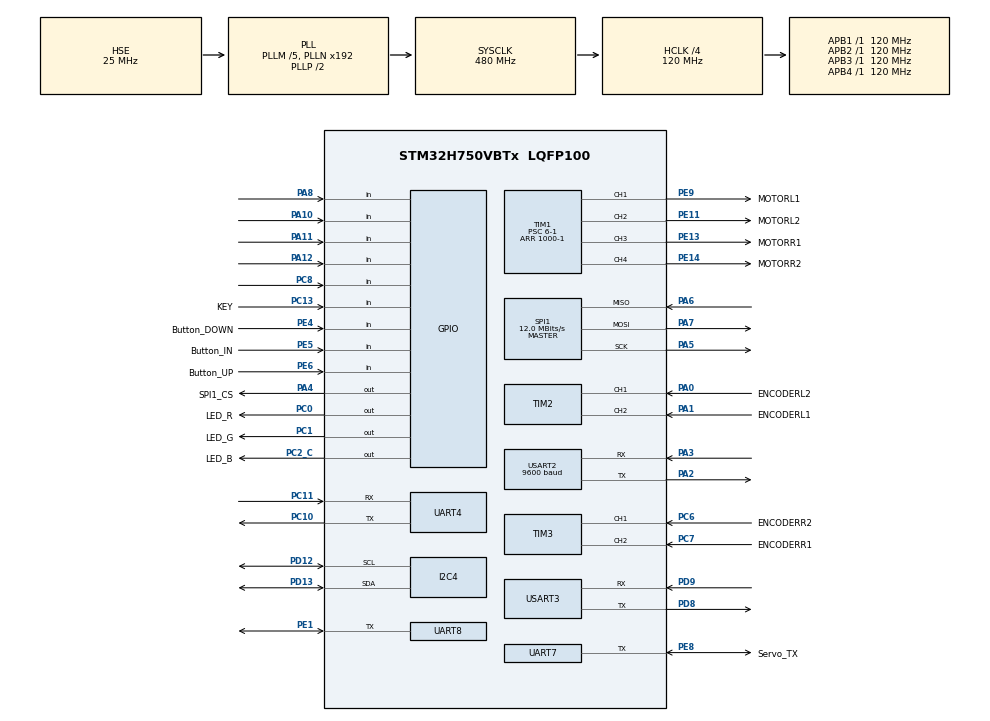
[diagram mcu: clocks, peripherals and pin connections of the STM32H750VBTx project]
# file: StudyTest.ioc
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CORTEX_M7.AccessPermission_Spec=MPU_REGION_FULL_ACCESS
CORTEX_M7.BaseAddress_Spec=0x24000000
CORTEX_M7.CPU_DCache=Enabled
CORTEX_M7.CPU_ICache=Enabled
CORTEX_M7.DisableExec_Spec=MPU_INSTRUCTION_ACCESS_ENABLE
CORTEX_M7.IsCacheable_Spec=MPU_ACCESS_CACHEABLE
CORTEX_M7.IsShareable_Spec=MPU_ACCESS_NOT_SHAREABLE
CORTEX_M7.Size_Spec=MPU_REGION_SIZE_512KB
CORTEX_M7.SubRegionDisable_Spec=0x0
CORTEX_M7.TypeExtField_Spec=MPU_TEX_LEVEL0
CORTEX_M7.default_mode_Activation=1
Dma.Request0=UART4_RX
Dma.UART4_RX.0.Direction=DMA_PERIPH_TO_MEMORY
Dma.UART4_RX.0.FIFOMode=DMA_FIFOMODE_DISABLE
Dma.UART4_RX.0.Instance=DMA1_Stream0
Dma.UART4_RX.0.MemDataAlignment=DMA_MDATAALIGN_BYTE
Dma.UART4_RX.0.MemInc=DMA_MINC_ENABLE
Dma.UART4_RX.0.Mode=DMA_CIRCULAR
Dma.UART4_RX.0.PeriphDataAlignment=DMA_PDATAALIGN_BYTE
Dma.UART4_RX.0.PeriphInc=DMA_PINC_DISABLE
Dma.UART4_RX.0.Priority=DMA_PRIORITY_HIGH
I2C4.Timing=0x307075B1
Mcu.Family=STM32H7
Mcu.Name=STM32H750VBTx
Mcu.Package=LQFP100
NVIC.PriorityGroup=NVIC_PRIORITYGROUP_4
NVIC.TIM7_IRQn=true\:0\:0\:false\:false\:true\:true\:true\:true
NVIC.UART4_IRQn=true\:0\:0\:false\:false\:true\:true\:true\:true
NVIC.UART8_IRQn=true\:0\:0\:false\:false\:true\:true\:true\:true
NVIC.USART2_IRQn=true\:0\:0\:false\:false\:true\:true\:true\:true
PA0.GPIO_Label=ENCODERL2
PA0.Signal=S_TIM2_CH1_ETR
PA1.GPIO_Label=ENCODERL1
PA1.Signal=S_TIM2_CH2
PA10.Signal=GPIO_Input
PA11.Signal=GPIO_Input
PA12.Signal=GPIO_Input
PA13\ (JTMS/SWDIO).Mode=Serial_Wire
PA13\ (JTMS/SWDIO).Signal=DEBUG_JTMS-SWDIO
PA14\ (JTCK/SWCLK).Mode=Serial_Wire
PA14\ (JTCK/SWCLK).Signal=DEBUG_JTCK-SWCLK
PA2.Mode=Asynchronous
PA2.Signal=USART2_TX
PA3.Mode=Asynchronous
PA3.Signal=USART2_RX
PA4.GPIO_Label=SPI1_CS
PA4.PinState=GPIO_PIN_SET
PA4.Signal=GPIO_Output
PA5.GPIO_Speed=GPIO_SPEED_FREQ_VERY_HIGH
PA5.Mode=Full_Duplex_Master
PA5.Signal=SPI1_SCK
PA6.GPIO_Speed=GPIO_SPEED_FREQ_VERY_HIGH
PA6.Mode=Full_Duplex_Master
PA6.Signal=SPI1_MISO
PA7.GPIO_Speed=GPIO_SPEED_FREQ_VERY_HIGH
PA7.Mode=Full_Duplex_Master
PA7.Signal=SPI1_MOSI
PA8.Signal=GPIO_Input
PC0.GPIO_Label=LED_R
PC0.PinState=GPIO_PIN_SET
PC0.Signal=GPIO_Output
PC1.GPIO_Label=LED_G
PC1.PinState=GPIO_PIN_SET
PC1.Signal=GPIO_Output
PC10.Mode=Asynchronous
PC10.Signal=UART4_TX
PC11.Mode=Asynchronous
PC11.Signal=UART4_RX
PC13.GPIO_Label=KEY
PC13.GPIO_PuPd=GPIO_PULLUP
PC13.Signal=GPIO_Input
PC2_C.GPIO_Label=LED_B
PC2_C.PinState=GPIO_PIN_SET
PC2_C.Signal=GPIO_Output
PC6.GPIO_Label=ENCODERR2
PC6.Signal=S_TIM3_CH1
PC7.GPIO_Label=ENCODERR1
PC7.Signal=S_TIM3_CH2
PC8.Signal=GPIO_Input
PD12.Mode=I2C
PD12.Signal=I2C4_SCL
PD13.Mode=I2C
PD13.Signal=I2C4_SDA
PD8.Mode=Asynchronous
PD8.Signal=USART3_TX
PD9.Mode=Asynchronous
PD9.Signal=USART3_RX
PE1.GPIO_PuPd=GPIO_PULLUP
PE1.Mode=Half_duplex(single_wire_mode)
PE1.Signal=UART8_TX
PE11.GPIO_Label=MOTORL2
PE11.Signal=S_TIM1_CH2
PE13.GPIO_Label=MOTORR1
PE13.Signal=S_TIM1_CH3
PE14.GPIO_Label=MOTORR2
PE14.Signal=S_TIM1_CH4
PE4.GPIO_Label=Button_DOWN
PE4.GPIO_PuPd=GPIO_PULLUP
PE4.Signal=GPIO_Input
PE5.GPIO_Label=Button_IN
PE5.GPIO_PuPd=GPIO_PULLUP
PE5.Signal=GPIO_Input
PE6.GPIO_Label=Button_UP
PE6.GPIO_PuPd=GPIO_PULLUP
PE6.Signal=GPIO_Input
PE8.GPIO_Label=Servo_TX
PE8.Mode=Half_duplex(single_wire_mode)
PE8.Signal=UART7_TX
PE9.GPIO_Label=MOTORL1
PE9.Signal=S_TIM1_CH1
PH0-OSC_IN\ (PH0).Mode=HSE-External-Oscillator
PH0-OSC_IN\ (PH0).Signal=RCC_OSC_IN
PH1-OSC_OUT\ (PH1).Mode=HSE-External-Oscillator
PH1-OSC_OUT\ (PH1).Signal=RCC_OSC_OUT
ProjectManager.HeapSize=0x200
ProjectManager.StackSize=0x400
ProjectManager.TargetToolchain=CMake
RCC.ADCFreq_Value=75000000
RCC.APB1Freq_Value=120000000
RCC.APB2Freq_Value=120000000
RCC.APB3Freq_Value=120000000
RCC.APB4Freq_Value=120000000
RCC.CortexFreq_Value=480000000
RCC.DIVM1=5
RCC.DIVM2=2
RCC.DIVN1=192
RCC.DIVN2=12
RCC.DIVQ1=5
RCC.HCLKFreq_Value=120000000
RCC.HPRE=RCC_HCLK_DIV4
RCC.PLL2FRACN=0
RCC.PLL2_VCI_Range-AdvancedSettings=RCC_PLL2VCIRANGE_0
RCC.PLL3FRACN=0
RCC.PLL3_VCI_Range-AdvancedSettings=RCC_PLL3VCIRANGE_0
RCC.PLLFRACN=0
RCC.PLLSourceVirtual=RCC_PLLSOURCE_HSE
RCC.SYSCLKFreq_VALUE=480000000
RCC.SYSCLKSource=RCC_SYSCLKSOURCE_PLLCLK
RCC.USBFreq_Value=192000000
SH.S_TIM1_CH1.0=TIM1_CH1,PWM Generation1 CH1
SH.S_TIM1_CH2.0=TIM1_CH2,PWM Generation2 CH2
SH.S_TIM1_CH3.0=TIM1_CH3,PWM Generation3 CH3
SH.S_TIM1_CH4.0=TIM1_CH4,PWM Generation4 CH4
SH.S_TIM2_CH1_ETR.0=TIM2_CH1,Encoder_Interface
SH.S_TIM2_CH2.0=TIM2_CH2,Encoder_Interface
SH.S_TIM3_CH1.0=TIM3_CH1,Encoder_Interface
SH.S_TIM3_CH2.0=TIM3_CH2,Encoder_Interface
SPI1.BaudRatePrescaler=SPI_BAUDRATEPRESCALER_16
SPI1.CLKPhase=SPI_PHASE_2EDGE
SPI1.CLKPolarity=SPI_POLARITY_HIGH
SPI1.CalculateBaudRate=12.0 MBits/s
SPI1.DataSize=SPI_DATASIZE_8BIT
SPI1.Direction=SPI_DIRECTION_2LINES
SPI1.MasterKeepIOState=SPI_MASTER_KEEP_IO_STATE_ENABLE
SPI1.Mode=SPI_MODE_MASTER
SPI1.NSSPMode=SPI_NSS_PULSE_DISABLE
SPI1.VirtualType=VM_MASTER
TIM1.Channel-PWM\ Generation1\ CH1=TIM_CHANNEL_1
TIM1.Channel-PWM\ Generation2\ CH2=TIM_CHANNEL_2
TIM1.Channel-PWM\ Generation3\ CH3=TIM_CHANNEL_3
TIM1.Channel-PWM\ Generation4\ CH4=TIM_CHANNEL_4
TIM1.Period=1000-1
TIM1.Prescaler=6-1
TIM2.EncoderMode=TIM_ENCODERMODE_TI12
TIM3.EncoderMode=TIM_ENCODERMODE_TI12
TIM7.AutoReloadPreload=TIM_AUTORELOAD_PRELOAD_ENABLE
TIM7.Period=1000-1
TIM7.Prescaler=120-1
UART8.BaudRate=500000
USART2.BaudRate=9600
USART2.VirtualMode-Asynchronous=VM_ASYNC
USART3.VirtualMode-Asynchronous=VM_ASYNC
VP_MEMORYMAP_VS_MEMORYMAP.Mode=CurAppReg
VP_TIM7_VS_ClockSourceINT.Mode=Enable_Timer
board=custom

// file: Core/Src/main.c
/* USER CODE BEGIN Header */
/**
  ******************************************************************************
  * @file           : main.c
  * @brief          : Main program body
  ******************************************************************************
  * @attention
  *
  * Copyright (c) 2025 STMicroelectronics.
  * All rights reserved.
  *
  * This software is licensed under terms that can be found in the LICENSE file
  * in the root directory of this software component.
  * If no LICENSE file comes with this software, it is provided AS-IS.
  *
  ******************************************************************************
  */
/* USER CODE END Header */
#include "main.h"
#include "i2c.h"
#include "spi.h"
#include "tim.h"
#include "usart.h"
#include "gpio.h"

/* USER CODE BEGIN Includes */
#include "SEGGER_RTT.h"
#include "fashion_star_uart_servo.h"
#include "OLED.h"
#include "u8g2.h"
#include "user_uart.h"
#include "question.h"
#include "task_ui.h"
#include "drv8870.h"
#include "encoder.h"
#include "gray.h"
#include "icm45686.h"
#include "pid.h"
#include "tasks.h"
#include "rpi_vision.h"
/* USER CODE END Includes */

/* USER CODE BEGIN PTD */
u8g2_t u8g2;
UI_HandleTypeDef g_ui;
/* USER CODE END PTD */

/* USER CODE BEGIN PD */
volatile float Angle = 0.0f; // 航向角（主循环更新，定时中断读取）

/* USER CODE END PD */

/* USER CODE BEGIN PV */
uint8_t g_gray_raw = 0;   // 灰度传感器原始状态掩码
int32_t g_gray_pos = 0;   // 灰度传感器质心误差值
ICM45686_HandleTypeDef g_gyro;
PID_TypeDef g_pid_track;
RPiVision_HandleTypeDef g_rpi_vision;
int32_t g_base_speed = 6000; // 基础速度 (满速 12000)
/* USER CODE END PV */

void SystemClock_Config(void);
static void MPU_Config(void);
/* USER CODE BEGIN PFP */
void FSUSExample_PingServo(void);
void FSUSExample_ReadData(void);
/* USER CODE END PFP */

/* USER CODE BEGIN 0 */
UI_KeyEvent_e Scan_UI_Buttons(void) {
    typedef struct {
        GPIO_TypeDef* port;
        uint16_t pin;
        uint8_t last_pressed;   // 1 表示当前按键处于按下状态
        uint32_t last_tick;     // 上次触发按键的时间戳
        UI_KeyEvent_e key_evt;  // 绑定的按键事件
    } Button_Item_t;

    static Button_Item_t btn_list[] = {
        {Button_UP_GPIO_Port,   Button_UP_Pin,   0, 0, KEY_UP},
        {Button_DOWN_GPIO_Port, Button_DOWN_Pin, 0, 0, KEY_DOWN},
        {Button_IN_GPIO_Port,   Button_IN_Pin,   0, 0, KEY_IN}
    };

    uint32_t now = HAL_GetTick();
    UI_KeyEvent_e event = KEY_NONE;

    for (int i = 0; i < 3; i++) {
        // 按键按下时引脚读出低电平 GPIO_PIN_RESET
        uint8_t is_down = (HAL_GPIO_ReadPin(btn_list[i].port, btn_list[i].pin) == GPIO_PIN_RESET) ? 1 : 0;

        if (is_down) {
            // 边缘按下触发检测（加 120ms 防抖限制）
            if (!btn_list[i].last_pressed && (now - btn_list[i].last_tick > 120)) {
                btn_list[i].last_pressed = 1;
                btn_list[i].last_tick = now;
                if (event == KEY_NONE) {
                    event = btn_list[i].key_evt;
                }
            }
        } else {
            // 松开按键时立即复位状态
            btn_list[i].last_pressed = 0;
        }
    }

    return event;
}

// 提取的陀螺仪数据更新与滤波函数 (需放在 while(1) 中调用)
void Gyro_Update_Routine(void) {
    static uint32_t last_gyro_tick = 0;
    uint32_t now = HAL_GetTick();
    if (now - last_gyro_tick >= 10) // 100Hz
    {
        float dt = (now - last_gyro_tick) / 1000.0f;
        last_gyro_tick = now;

        if (ICM45686_Update(&g_gyro, dt) == HAL_OK)
        {
            float new_angle = g_gyro.data.yaw_angle_deg;

            // 对航向角进行一阶低通滤波，注意处理 360 度过零点跳变问题
            float diff = new_angle - Angle;
            if (diff > 180.0f) diff -= 360.0f;
            else if (diff < -180.0f) diff += 360.0f;

            Angle += 0.2f * diff; // 滤波系数(可调): 0.2

            // 限制范围在 0~360
            if (Angle >= 360.0f) Angle -= 360.0f;
            else if (Angle < 0.0f) Angle += 360.0f;
        }
    }
}
/* USER CODE END 0 */

int main(void)
{

  /* MPU Configuration--------------------------------------------------------*/
  MPU_Config();

  /* Enable the CPU Cache */

  /* Enable I-Cache---------------------------------------------------------*/
  SCB_EnableICache();

  /* Enable D-Cache---------------------------------------------------------*/
  SCB_EnableDCache();

  /* MCU Configuration--------------------------------------------------------*/

  /* Reset of all peripherals, Initializes the Flash interface and the Systick. */
  HAL_Init();

  /* Configure the system clock */
  SystemClock_Config();

  /* Initialize all configured peripherals */
  MX_GPIO_Init();
  MX_TIM1_Init();
  MX_UART4_Init();
  MX_UART8_Init();
  MX_TIM7_Init();
  MX_I2C4_Init();
  MX_SPI1_Init();
  MX_TIM2_Init();
  MX_TIM3_Init();
  MX_UART7_Init();
  MX_USART2_UART_Init();
  MX_USART3_UART_Init();
  /* USER CODE BEGIN 2 */
  SEGGER_RTT_Init();

  u8g2Init(&u8g2);
  UI_Init(&g_ui);

  // 初始化 DRV8870 (会自动配置好 PWM)
  DRV8870_Init();

  // 初始化编码器及测速中断
  Encoder_Init();

  // 初始化陀螺仪
  if (ICM45686_Init(&g_gyro, &hspi1, SPI1_CS_GPIO_Port, SPI1_CS_Pin) == HAL_OK) {
      SEGGER_RTT_printf(0, "Gyro Init Success\r\n");
  } else {
      SEGGER_RTT_printf(0, "Gyro Init Failed\r\n");
  }

  // 初始化循迹PID控制器 (Kp, Ki, Kd, 最大输出, 积分限幅)
  // PID_Init(&g_pid_track, 0.00066f, 0.0f, 0.000006f, 6000.0f, 1000.0f);
  PID_Init(&g_pid_track, 0.006f, 0.0f, 0.000008f, 6000.0f, 1000.0f);
  // 初始化任务框架状态
  Task_Init();

  // 初始化 Fashion Star UART 舵机底层结构 (防止传入 NULL 导致 HardFault)
  extern void User_Uart_Init(UART_HandleTypeDef *huartx);
  extern UART_HandleTypeDef huart7;
  User_Uart_Init(&huart7);

  // 开启 USART2 接收中断（PA3 RX，用于钢球 PID 调参）
  HAL_UART_Receive_IT(&huart2, &uart2_rx_byte, 1);

  // UART4（PC11 RX）中断接收树莓派二进制视觉数据。
  if (RPiVision_Init(&g_rpi_vision, &huart4) != HAL_OK) {
      SEGGER_RTT_printf(0, "RPi Vision UART4 Init Failed\r\n");
  }
  /* USER CODE END 2 */

  /* Infinite loop */
  /* USER CODE BEGIN WHILE */
	FSUS_SetServoAngle(&FSUS_Usart, 0, 5.0f, 100, 0);
  while (1)
  {
    // 1. 非阻塞按键检测
    UI_KeyEvent_e key = Scan_UI_Buttons();

    // 2. 响应按键并更新状态
    UI_ProcessKey(&g_ui, key);

    // USART2 中断只负责组包，浮点解析和钢球 PID 更新放在前台完成
    User_Uart_Process();

    // UART4 中断只收字节；前台完成帧同步、CRC 和钢球位置归一化。
    RPiVision_Process(&g_rpi_vision);
    if (g_rpi_vision.vision_ready) {
        int32_t target_x_q8;
        int32_t error_x_q8;
        float normalized_position;
        /*
         * vision_ready 已表示 DMA 收到并解析出一帧新数据，不再把相机端
         * 的 FRESH 位作为硬条件；部分连续跟踪帧会清除此位，否则 PID
         * 会在有效/无效之间反复切换，表现为舵机轻微抖动却不持续纠偏。
         */
        uint16_t required_flags = RPI_FLAG_TRACK_ALIVE |
                                  RPI_FLAG_RUN_ACTIVE |
                                  RPI_FLAG_TARGET_VALID;

        g_rpi_vision.vision_ready = 0U;
        if ((g_rpi_vision.vision.flags & required_flags) == required_flags) {
            target_x_q8 = g_rpi_vision.vision.target_x_q8;
            /* README 协议定义：控制误差 = 目标位置 - 钢球位置。 */
            error_x_q8 = target_x_q8 - g_rpi_vision.vision.ball_x_q8;

            /*
             * target_x 是图像中的目标中心；用中心到左边缘的距离
             * 归一化，使画面中心为 0、左右边缘约为 -1/+1。
             */
            if (target_x_q8 < 0) target_x_q8 = -target_x_q8;
            if (target_x_q8 > 0) {
                normalized_position = (float)error_x_q8 /
                                      (float)target_x_q8;
                Task3_SetBallPosition(normalized_position);
            } else {
                Task3_InvalidateBallPosition();
            }
        } else {
            Task3_InvalidateBallPosition();
        }
    }

    // 3. 以 100Hz 更新陀螺仪航向角，供任务 3 的角度环使用
    Gyro_Update_Routine();

    // 4. U8G2 画面渲染
    UI_Update(&u8g2, &g_ui);

    // 5. 任务执行调度
    Task_Routine();

    HAL_GPIO_TogglePin(LED_R_GPIO_Port, LED_R_Pin);

    // 实际下发角度 = 扫角值 + 零点偏移(6.0f)

    /* USER CODE END WHILE */

  }
}

void SystemClock_Config(void)
{
  RCC_OscInitTypeDef RCC_OscInitStruct = {0};
  RCC_ClkInitTypeDef RCC_ClkInitStruct = {0};

  /** Supply configuration update enable
  */
  HAL_PWREx_ConfigSupply(PWR_LDO_SUPPLY);

  /** Configure the main internal regulator output voltage
  */
  __HAL_PWR_VOLTAGESCALING_CONFIG(PWR_REGULATOR_VOLTAGE_SCALE0);

  while(!__HAL_PWR_GET_FLAG(PWR_FLAG_VOSRDY)) {}

  /** Initializes the RCC Oscillators according to the specified parameters
  * in the RCC_OscInitTypeDef structure.
  */
  RCC_OscInitStruct.OscillatorType = RCC_OSCILLATORTYPE_HSE;
  RCC_OscInitStruct.HSEState = RCC_HSE_ON;
  RCC_OscInitStruct.PLL.PLLState = RCC_PLL_ON;
  RCC_OscInitStruct.PLL.PLLSource = RCC_PLLSOURCE_HSE;
  RCC_OscInitStruct.PLL.PLLM = 5;
  RCC_OscInitStruct.PLL.PLLN = 192;
  RCC_OscInitStruct.PLL.PLLP = 2;
  RCC_OscInitStruct.PLL.PLLQ = 5;
  RCC_OscInitStruct.PLL.PLLR = 2;
  RCC_OscInitStruct.PLL.PLLRGE = RCC_PLL1VCIRANGE_2;
  RCC_OscInitStruct.PLL.PLLVCOSEL = RCC_PLL1VCOWIDE;
  RCC_OscInitStruct.PLL.PLLFRACN = 0;
  if (HAL_RCC_OscConfig(&RCC_OscInitStruct) != HAL_OK)
  {
    Error_Handler();
  }

  /** Initializes the CPU, AHB and APB buses clocks
  */
  RCC_ClkInitStruct.ClockType = RCC_CLOCKTYPE_HCLK|RCC_CLOCKTYPE_SYSCLK
                              |RCC_CLOCKTYPE_PCLK1|RCC_CLOCKTYPE_PCLK2
                              |RCC_CLOCKTYPE_D3PCLK1|RCC_CLOCKTYPE_D1PCLK1;
  RCC_ClkInitStruct.SYSCLKSource = RCC_SYSCLKSOURCE_PLLCLK;
  RCC_ClkInitStruct.SYSCLKDivider = RCC_SYSCLK_DIV1;
  RCC_ClkInitStruct.AHBCLKDivider = RCC_HCLK_DIV4;
  RCC_ClkInitStruct.APB3CLKDivider = RCC_APB3_DIV1;
  RCC_ClkInitStruct.APB1CLKDivider = RCC_APB1_DIV1;
  RCC_ClkInitStruct.APB2CLKDivider = RCC_APB2_DIV1;
  RCC_ClkInitStruct.APB4CLKDivider = RCC_APB4_DIV1;

  if (HAL_RCC_ClockConfig(&RCC_ClkInitStruct, FLASH_LATENCY_1) != HAL_OK)
  {
    Error_Handler();
  }
}

/* USER CODE BEGIN 4 */

/* 舵机通讯检测 */
void FSUSExample_PingServo(void)
{
  FSUS_STATUS status_code; // 状态码
  uint8_t servo_id = 0;	 // 舵机ID = 0

  Usart_DataTypeDef *servo_usart = &FSUS_Usart; // 串口总线舵机对应的USART

  SEGGER_RTT_printf(0,"===Test Uart Servo Ping===r\n");
  while (1)
  {
    // 舵机通信检测
    status_code = FSUS_Ping(servo_usart, servo_id);
    if (status_code == FSUS_STATUS_SUCCESS)
    {
      // 舵机在线， LED1闪烁(绿灯)
      SEGGER_RTT_printf(0,"Servo Online \r\n");
      HAL_GPIO_TogglePin(LED_G_GPIO_Port, LED_G_Pin);
    }
    else
    {
      // 舵机离线， LED0闪烁(红灯)
      SEGGER_RTT_printf(0,"Servo Offline,Error Code=%d \r\n", status_code);
      HAL_GPIO_TogglePin(LED_R_GPIO_Port, LED_R_Pin);
    }
    // 延时等待1s
    HAL_Delay(1000);
  }
}

/*读取舵机状态*/
void FSUSExample_ReadData(void)
{
	uint8_t servo_id = 0;	// 连接在转接板上的总线伺服舵机ID号
	FSUS_STATUS statusCode; // 状态码

	// 数据表里面的数据字节长度一般为1个字节/2个字节/4个字节
	// 查阅通信协议可知,舵机角度上限的数据类型是有符号短整型(UShort, 对应STM32里面的int16_t),长度为2个字节
	// 所以这里设置value的数据类型为int16_t
	int16_t value;
	uint8_t dataSize;
	// 传参数的时候, 要将value的指针强行转换为uint8_t
	Usart_DataTypeDef *servo_usart = &FSUS_Usart; // 串口总线舵机对应的USART

	// 读取电压
	statusCode = FSUS_ReadData(servo_usart, servo_id, FSUS_PARAM_VOLTAGE, (uint8_t *)&value, &dataSize);

	SEGGER_RTT_printf(0,"read ID: %d\r\n", servo_id);

	if (statusCode == FSUS_STATUS_SUCCESS)
	{
		SEGGER_RTT_printf(0,"read sucess, voltage: %d mV\r\n", value);
	}
	else
	{
		SEGGER_RTT_printf(0,"fail\r\n");
	}

	// 读取电流
	statusCode = FSUS_ReadData(servo_usart, servo_id, FSUS_PARAM_CURRENT, (uint8_t *)&value, &dataSize);
	if (statusCode == FSUS_STATUS_SUCCESS)
	{
		SEGGER_RTT_printf(0,"read sucess, current: %d mA\r\n", value);
	}
	else
	{
		SEGGER_RTT_printf(0,"fail\r\n");
	}

	// 读取功率
	statusCode = FSUS_ReadData(servo_usart, servo_id, FSUS_PARAM_POWER, (uint8_t *)&value, &dataSize);
	if (statusCode == FSUS_STATUS_SUCCESS)
	{
		SEGGER_RTT_printf(0,"read sucess, power: %d mW\r\n", value);
	}
	else
	{
		SEGGER_RTT_printf(0,"fail\r\n");
	}
	// 读取温度
	statusCode = FSUS_ReadData(servo_usart, servo_id, FSUS_PARAM_TEMPRATURE, (uint8_t *)&value, &dataSize);
	if (statusCode == FSUS_STATUS_SUCCESS)
	{
		double temperature, temp;
		temp = (double)value;
		temperature = 1 / (log(temp / (4096.0f - temp)) / 3435.0f + 1 / (273.15 + 25)) - 273.15;
		SEGGER_RTT_printf(0,"read sucess, temperature: %f\r\n", temperature);
	}
	else
	{
		SEGGER_RTT_printf(0,"fail\r\n");
	}
	// 读取工作状态
	statusCode = FSUS_ReadData(servo_usart, servo_id, FSUS_PARAM_SERVO_STATUS, (uint8_t *)&value, &dataSize);
	if (statusCode == FSUS_STATUS_SUCCESS)
	{
		// 舵机工作状态标志位
		// BIT[0] - 执行指令置1，执行完成后清零。
		// BIT[1] - 执行指令错误置1，在下次正确执行后清零。
		// BIT[2] - 堵转错误置1，解除堵转后清零。
		// BIT[3] - 电压过高置1，电压恢复正常后清零。
		// BIT[4] - 电压过低置1，电压恢复正常后清零。
		// BIT[5] - 电流错误置1，电流恢复正常后清零。
		// BIT[6] - 功率错误置1，功率恢复正常后清零。
		// BIT[7] - 温度错误置1，温度恢复正常后清零。

		if ((value >> 3) & 0x01)
			SEGGER_RTT_printf(0,"read sucess, voltage too high\r\n");
		if ((value >> 4) & 0x01)
			SEGGER_RTT_printf(0,"read sucess, voltage too low\r\n");
	}
	else
	{
		SEGGER_RTT_printf(0,"fail\r\n");
	}
	SEGGER_RTT_printf(0,"================================= \r\n");

	// 死循环
	while (1)
	{
	}
}
/* USER CODE END 4 */

 /* MPU Configuration */

void MPU_Config(void)
{
  MPU_Region_InitTypeDef MPU_InitStruct = {0};

  /* Disables the MPU */
  HAL_MPU_Disable();

  /** Initializes and configures the Region and the memory to be protected
  */
  MPU_InitStruct.Enable = MPU_REGION_ENABLE;
  MPU_InitStruct.Number = MPU_REGION_NUMBER0;
  MPU_InitStruct.BaseAddress = 0x24000000;
  MPU_InitStruct.Size = MPU_REGION_SIZE_512KB;
  MPU_InitStruct.SubRegionDisable = 0x0;
  MPU_InitStruct.TypeExtField = MPU_TEX_LEVEL0;
  MPU_InitStruct.AccessPermission = MPU_REGION_FULL_ACCESS;
  MPU_InitStruct.DisableExec = MPU_INSTRUCTION_ACCESS_ENABLE;
  MPU_InitStruct.IsShareable = MPU_ACCESS_NOT_SHAREABLE;
  MPU_InitStruct.IsCacheable = MPU_ACCESS_CACHEABLE;
  MPU_InitStruct.IsBufferable = MPU_ACCESS_NOT_BUFFERABLE;

  HAL_MPU_ConfigRegion(&MPU_InitStruct);
  /* Enables the MPU */
  HAL_MPU_Enable(MPU_PRIVILEGED_DEFAULT);

}

void Error_Handler(void)
{
  __disable_irq();
  while (1)
  {
  }
}
